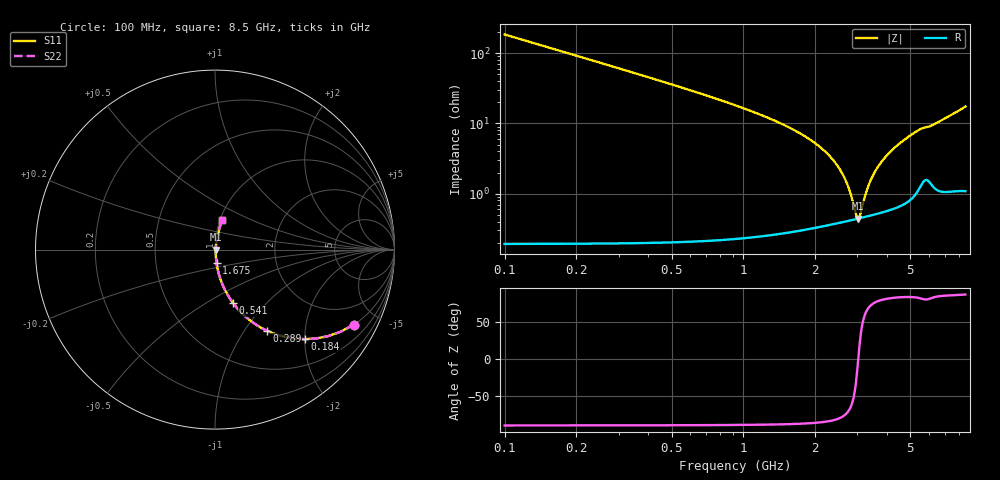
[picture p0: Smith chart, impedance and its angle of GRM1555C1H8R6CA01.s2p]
!Murata Part Number: GRM1555C1H8R6CA01
!These Parameters are Measured in Series Mode Connection
!Data Generated on Mar 30, 2021
!  o--ll--o
!Port1  Port2
!  o------o
!Operation Temp=25[degC], DC Bias Voltage=0[V]
!Freq. Start=100[MHz] Stop=9[GHz] 401[Steps]
# Hz S RI R 50
!Freq.(Hz) S11(Real) S11(Imag) S21(Real) S21(Imag) S12(Real) S12(Imag) S22(Real) S22(Imag)
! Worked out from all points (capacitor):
!   401 points, 100 MHz to 8.5 GHz, reference 50 ohm
!   read as one part in series: C = 8.6 pF near 142 MHz
!   lowest |Z| = 442 mohm at 3.019 GHz (marker M1)
!   series resonance near 3.026 GHz, so ESL is about 320 pH
!   S11 on the Smith chart (normalised r, x): 100 MHz: 1.00, -3.70; 184 MHz: 1.00, -2.00; 289 MHz: 1.00, -1.27; 541 MHz: 1.00, -0.66; 1.675 GHz: 1.01, -0.15; 8.5 GHz: 1.02, +0.35
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1e8  0.7734 -0.4181  0.2266 0.4181  0.2266 0.4181  0.7734 -0.4181
1.84e8  0.501 -0.499  0.499 0.499  0.499 0.499  0.501 -0.499
2.89e8  0.2876 -0.4511  0.7124 0.4511  0.7124 0.4511  0.2876 -0.4511
3.94e8  0.1767 -0.3793  0.8233 0.3793  0.8233 0.3793  0.1767 -0.3793
5.41e8  0.1002 -0.2972  0.8998 0.2972  0.8998 0.2972  0.1002 -0.2972
9.19e8  0.0343 -0.176  0.9657 0.176  0.9657 0.176  0.0343 -0.176
1.507e9  0.0111 -0.0909  0.9889 0.0909  0.9889 0.0909  0.0111 -0.0909
1.675e9  0.00868 -0.0756  0.9913 0.0756  0.9913 0.0756  0.00868 -0.0756
2.158e9  0.00517 -0.0417  0.9948 0.0417  0.9948 0.0417  0.00517 -0.0417
2.494e9  0.00435 -0.0236  0.9956 0.0236  0.9956 0.0236  0.00435 -0.0236
2.725e9  0.00422 -0.0128  0.9958 0.0128  0.9958 0.0128  0.00422 -0.0128
2.914e9  0.00429 -0.0046  0.9957 0.0046  0.9957 0.0046  0.00429 -0.0046
3.019e9  0.00439 -0.000297  0.9956 0.000297  0.9956 0.000297  0.00439 -0.000297
3.082e9  0.00447 0.00221  0.9955 -0.00221  0.9955 -0.00221  0.00447 0.00221
3.313e9  0.00486 0.011  0.9951 -0.011  0.9951 -0.011  0.00486 0.011
3.523e9  0.00535 0.0186  0.9947 -0.0186  0.9947 -0.0186  0.00535 0.0186
3.859e9  0.00635 0.0301  0.9937 -0.0301  0.9937 -0.0301  0.00635 0.0301
4.3e9  0.00809 0.0442  0.9919 -0.0442  0.9919 -0.0442  0.00809 0.0442
5.035e9  0.0127 0.0666  0.9873 -0.0666  0.9873 -0.0666  0.0127 0.0666
5.707e9  0.0219 0.0825  0.9781 -0.0825  0.9781 -0.0825  0.0219 0.0825
7.114e9  0.0247 0.1178  0.9753 -0.1178  0.9753 -0.1178  0.0247 0.1178
8.5e9  0.0391 0.165  0.9609 -0.165  0.9609 -0.165  0.0391 0.165
